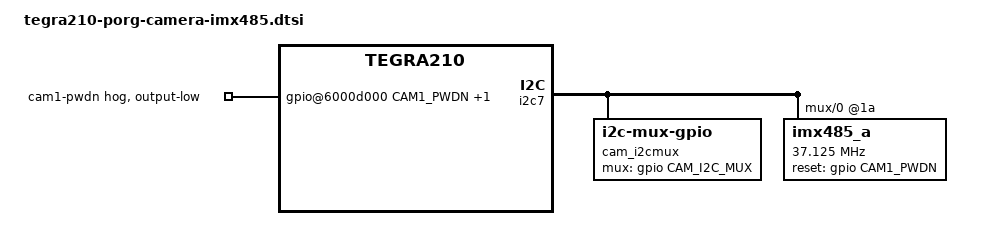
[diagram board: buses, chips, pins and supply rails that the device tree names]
/*
 * tegra210-porg-camera-imx485.dtsi - imx485 sensor device tree
 *
 * Copyright (c) 2019. FRAMOS.  All rights reserved.
 *
 * This program is free software; you can redistribute it and/or modify it
 * under the terms and conditions of the GNU General Public License,
 * version 2, as published by the Free Software Foundation.
 *
 * This program is distributed in the hope it will be useful, but WITHOUT
 * ANY WARRANTY; without even the implied warranty of MERCHANTABILITY or
 * FITNESS FOR A PARTICULAR PURPOSE.  See the GNU General Public License for
 * more details.
 *
 * You should have received a copy of the GNU General Public License
 * along with this program.  If not, see <http://www.gnu.org/licenses/>.
 */

#include "tegra210-camera-imx485.dtsi"
#include <dt-bindings/clock/tegra210-car.h>

#define CAM1_PWDN		TEGRA_GPIO(S, 7)
#define CAM2_PWDN		TEGRA_GPIO(T, 0)
#define CAM_I2C_MUX TEGRA_GPIO(I, 0) // NFC_EN GPIO

/ {
	cam_i2cmux {
		compatible = "i2c-mux-gpio";
		#address-cells = <1>;
		#size-cells = <0>;
		mux-gpios = <&gpio CAM_I2C_MUX GPIO_ACTIVE_HIGH>;
		i2c-parent = <&i2c7>;

		i2c@0 {
			reg = <0>;
			#address-cells = <1>;
			#size-cells = <0>;

			imx485_a@1a {
				/* Define any required hw resources needed by driver */
				/* ie. clocks, io pins, power sources */
				clocks = <&tegra_car TEGRA210_CLK_CLK_OUT_3>;
				clock-names = "clk_out_3";
				mclk = "clk_out_3";
				clock-frequency = <37125000>;
				reset-gpios = <&gpio CAM1_PWDN GPIO_ACTIVE_HIGH>;
			};
		};
	};

	gpio@6000d000 {
		camera-control-output-low {
			gpio-hog;
			output-low;
			gpios = < CAM1_PWDN 0  CAM2_PWDN 0>;
			label = "cam1-pwdn", "cam2-pwdn";
		};
	};
};
